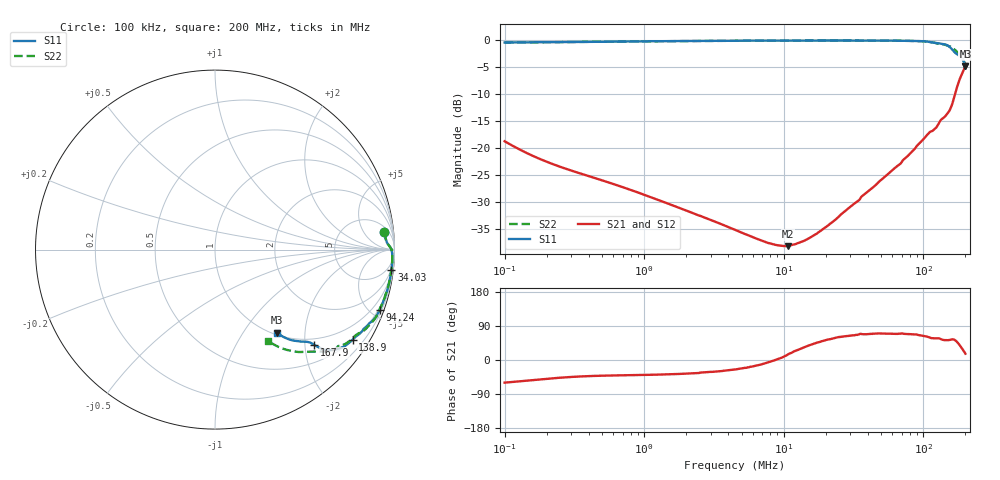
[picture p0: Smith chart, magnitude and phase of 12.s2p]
#  HZ  S  RI  R  50.00
! Rohde & Schwarz Vector Network Analyzer
! Rohde-Schwarz,ZNLE6-2Port,1323001256200024,1.71.1.10-23.02.1.238
! Created: UTC 4/7/2025, 8:37:02 AM
! freq[Hz]  re:S11  im:S11  re:S21  im:S21  re:S12  im:S12  re:S22  im:S22
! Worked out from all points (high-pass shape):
!   1001 points, 100 kHz to 200 MHz, reference 50 ohm
!   highest |S21| = -4.88 dB at 200 MHz (marker M1); lowest = -38.1 dB at 10.64 MHz (marker M2)
!   |S21| within 3 dB of the highest: 178.5 MHz to end of sweep
!   lowest |S11| = -4.8 dB at 200 MHz (marker M3), VSWR 3.72, Z = 51.9 - j71.8 ohm
!   |S11| at or under -10 dB: nowhere
!   |S22| runs from -4.6 to -0.1 dB; largest |S21 - S12| = 0.016
!   S11 on the Smith chart (normalised r, x): 100 kHz: 8, +15; 34.03 MHz: 2, -17; 94.24 MHz: 0.37, -5.61; 138.9 MHz: 0.52, -3.27; 167.9 MHz: 0.85, -2.21; 200 MHz: 1.04, -1.44
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100000  0.9423 0.0991  0.0583 -0.0999  0.0585 -0.1001  0.9421 0.0993
182297.8  0.951 0.0601  0.0494 -0.061  0.0496 -0.0611  0.9509 0.0603
355854.1  0.9583 0.0385  0.042 -0.0396  0.0421 -0.0396  0.9583 0.0386
1266322  0.9742 0.0172  0.0259 -0.0206  0.0259 -0.0206  0.9742 0.017
4472136  0.984 -0.00423  0.0159 -0.00741  0.0158 -0.00715  0.9848 -0.00364
7671638  0.9869 -0.0184  0.0132 -0.00148  0.0133 -0.0013  0.9869 -0.019
1.063732e7  0.9877 -0.0298  0.012 0.00304  0.0123 0.00303  0.9878 -0.031
1.276607e7  0.9877 -0.0374  0.0118 0.0061  0.0118 0.00609  0.9878 -0.0402
1.591428e7  0.9878 -0.0491  0.0115 0.01  0.0115 0.00987  0.9881 -0.0516
2.12435e7  0.9869 -0.0683  0.0115 0.0161  0.0115 0.016  0.9869 -0.0721
3.40322e7  0.9823 -0.1141  0.0128 0.0298  0.0131 0.0295  0.9821 -0.1189
5.663162e7  0.9683 -0.1943  0.0203 0.0548  0.0219 0.0539  0.9661 -0.2014
6.745012e7  0.9575 -0.2348  0.0249 0.0661  0.0282 0.0651  0.9535 -0.2437
9.423843e7  0.9179 -0.3364  0.0468 0.1013  0.0501 0.1003  0.9099 -0.3524
1.22029e8  0.8308 -0.4393  0.0827 0.1281  0.0864 0.127  0.8173 -0.4578
1.388611e8  0.7665 -0.5026  0.1145 0.1516  0.1145 0.1481  0.7612 -0.499
1.544525e8  0.6559 -0.5594  0.1349 0.1792  0.1375 0.1753  0.6817 -0.5426
1.679215e8  0.5537 -0.5311  0.1873 0.2466  0.1945 0.2376  0.5796 -0.5685
1.757569e8  0.5217 -0.5155  0.2629 0.2737  0.27 0.2627  0.5242 -0.5687
1.82565e8  0.489 -0.5129  0.3425 0.272  0.3501 0.2592  0.4686 -0.5706
1.940108e8  0.4002 -0.4953  0.4776 0.2171  0.4828 0.2032  0.356 -0.5433
2e8  0.3444 -0.4623  0.5466 0.1635  0.5518 0.1508  0.2941 -0.5084
